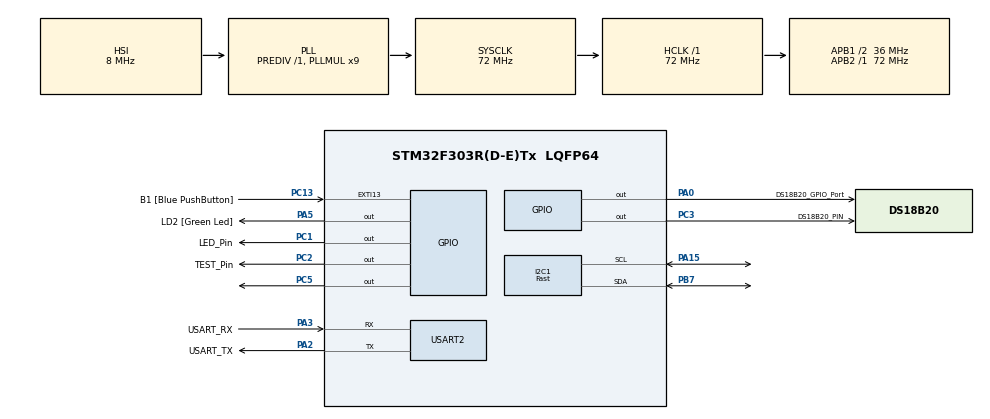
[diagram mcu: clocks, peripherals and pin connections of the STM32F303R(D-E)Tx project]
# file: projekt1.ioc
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Dma.I2C1_TX.0.Direction=DMA_MEMORY_TO_PERIPH
Dma.I2C1_TX.0.Instance=DMA1_Channel6
Dma.I2C1_TX.0.MemDataAlignment=DMA_MDATAALIGN_BYTE
Dma.I2C1_TX.0.MemInc=DMA_MINC_ENABLE
Dma.I2C1_TX.0.Mode=DMA_NORMAL
Dma.I2C1_TX.0.PeriphDataAlignment=DMA_PDATAALIGN_BYTE
Dma.I2C1_TX.0.PeriphInc=DMA_PINC_DISABLE
Dma.I2C1_TX.0.Priority=DMA_PRIORITY_LOW
Dma.Request0=I2C1_TX
I2C1.I2C_Speed_Mode=I2C_Fast
I2C1.Timing=0x0000020B
Mcu.Family=STM32F3
Mcu.Name=STM32F303R(D-E)Tx
Mcu.Package=LQFP64
NVIC.DMA1_Channel6_IRQn=true\:0\:0\:false\:false\:true\:false\:true\:true
NVIC.I2C1_EV_IRQn=true\:0\:0\:false\:false\:true\:true\:true\:true
NVIC.PriorityGroup=NVIC_PRIORITYGROUP_0
NVIC.USART2_IRQn=true\:0\:0\:false\:false\:true\:true\:true\:true
PA0.GPIO_Label=DS18B20_GPIO_Port
PA0.Signal=GPIO_Output
PA13.GPIO_Label=TMS
PA13.Mode=Serial_Wire
PA13.Signal=SYS_JTMS-SWDIO
PA14.GPIO_Label=TCK
PA14.Mode=Serial_Wire
PA14.Signal=SYS_JTCK-SWCLK
PA15.Mode=I2C
PA15.Signal=I2C1_SCL
PA2.GPIO_Label=USART_TX
PA2.GPIO_Mode=GPIO_MODE_AF_PP
PA2.GPIO_PuPd=GPIO_NOPULL
PA2.GPIO_Speed=GPIO_SPEED_FREQ_LOW
PA2.Mode=Asynchronous
PA2.Signal=USART2_TX
PA3.GPIO_Label=USART_RX
PA3.GPIO_Mode=GPIO_MODE_AF_PP
PA3.GPIO_PuPd=GPIO_NOPULL
PA3.GPIO_Speed=GPIO_SPEED_FREQ_LOW
PA3.Mode=Asynchronous
PA3.Signal=USART2_RX
PA5.GPIO_Label=LD2 [Green Led]
PA5.GPIO_Mode=GPIO_MODE_OUTPUT_PP
PA5.GPIO_PuPd=GPIO_NOPULL
PA5.GPIO_Speed=GPIO_SPEED_FREQ_LOW
PA5.Signal=GPIO_Output
PB3.GPIO_Label=SWO
PB3.Signal=SYS_JTDO-TRACESWO
PB7.Mode=I2C
PB7.Signal=I2C1_SDA
PC1.GPIO_Label=LED_Pin
PC1.Signal=GPIO_Output
PC13.GPIO_Label=B1 [Blue PushButton]
PC13.GPIO_ModeDefaultEXTI=GPIO_MODE_IT_FALLING
PC13.Signal=GPXTI13
PC14-OSC32_IN.Mode=LSE-External-Oscillator
PC14-OSC32_IN.Signal=RCC_OSC32_IN
PC15-OSC32_OUT.Mode=LSE-External-Oscillator
PC15-OSC32_OUT.Signal=RCC_OSC32_OUT
PC2.GPIO_Label=TEST_Pin
PC2.Signal=GPIO_Output
PC3.GPIO_Label=DS18B20_PIN
PC3.Signal=GPIO_Output
PC5.Signal=GPIO_Output
PF0-OSC_IN.Mode=HSE-External-Clock-Source
PF0-OSC_IN.Signal=RCC_OSC_IN
PF1-OSC_OUT.Signal=RCC_OSC_OUT
ProjectManager.HeapSize=0x200
ProjectManager.StackSize=0x400
ProjectManager.TargetToolchain=STM32CubeIDE
RCC.AHBFreq_Value=72000000
RCC.APB1CLKDivider=RCC_HCLK_DIV2
RCC.APB1Freq_Value=36000000
RCC.APB1TimFreq_Value=72000000
RCC.APB2Freq_Value=72000000
RCC.APB2TimFreq_Value=72000000
RCC.CortexFreq_Value=72000000
RCC.HCLKFreq_Value=72000000
RCC.HSE_VALUE=8000000
RCC.HSI_VALUE=8000000
RCC.PLLM=8
RCC.PLLMUL=RCC_PLL_MUL9
RCC.PLLN=336
RCC.PLLP=RCC_PLLP_DIV4
RCC.PLLQ=7
RCC.RCC_PLLsource_Clock_Source_FROM_HSE=RCC_HSE_PREDIV_DIV2
RCC.SYSCLKFreq_VALUE=72000000
RCC.SYSCLKSourceVirtual=RCC_SYSCLKSOURCE_PLLCLK
RCC.USBFreq_Value=72000000
TIM1.Prescaler=72-1
USART2.VirtualMode-Asynchronous=VM_ASYNC
VP_RTC_VS_RTC_Activate.Mode=RTC_Enabled
VP_RTC_VS_RTC_Calendar.Mode=RTC_Calendar
VP_TIM1_VS_ClockSourceINT.Mode=Internal
board=NUCLEO-F303RE

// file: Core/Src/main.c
/* USER CODE BEGIN Header */
/**
  ******************************************************************************
  * @file           : main.c
  * @brief          : Main program body
  ******************************************************************************
  * @attention
  *
  * Copyright (c) 2022 STMicroelectronics.
  * All rights reserved.
  *
  * This software is licensed under terms that can be found in the LICENSE file
  * in the root directory of this software component.
  * If no LICENSE file comes with this software, it is provided AS-IS.
  *
  ******************************************************************************
  */
/* USER CODE END Header */
#include "main.h"
#include "dma.h"
#include "i2c.h"
#include "rtc.h"
#include "tim.h"
#include "usart.h"
#include "gpio.h"

/* USER CODE BEGIN Includes */
#include <string.h>
#include <stdio.h>
#include <time.h>
#include <stdarg.h>
#include "onewire.h"
#include "ds18b20.h"
#include "ssd1306.h"
#include "fonts.h"
#include "test.h"
/* USER CODE END Includes */

/* USER CODE BEGIN PV */

//zmienne do obsługi protokołu
#define USART_TXBUF_LEN 300
#define USART_RXBUF_LEN 300
uint8_t USART_TxBUF[USART_TXBUF_LEN];
uint8_t USART_RxBUF[USART_RXBUF_LEN];

__IO int USART_TX_EMPTY=0; //wskaźnik dla bufora nadawczego
__IO int USART_TX_BUSY=0;
__IO int USART_RX_EMPTY=0; //wskaźnik dla bufora odbiorczego
__IO int USART_RX_BUSY=0;

//zmienne do ramki
const char nazwa_stm[3]="stm";
char nadawca[3];
char odbiorca[3];
char dlugoscKomendy2[3];
char sumaKontrolna2[2];
int sumaKontrolna;
int dlugoscKomendy;
int ramkaDlugosc=0;
int poczatekRamki=0;

int dlugosc;

float temperature;
char string[64];

uint8_t aShowTime[50] = {0};
uint8_t aShowDate[50] = {0};

/* USER CODE END PV */

void SystemClock_Config(void);

/* USER CODE BEGIN 0 */
uint8_t USART_kbhit(){
	if(USART_RX_EMPTY==USART_RX_BUSY){
		return 0;
	}else{
		return 1;
	}
}//USART_kbhit

int16_t USART_getchar(){
int16_t tmp;
	if(USART_RX_EMPTY!=USART_RX_BUSY){
		tmp=USART_RxBUF[USART_RX_BUSY];
		USART_RX_BUSY++;
		if(USART_RX_BUSY >= USART_RXBUF_LEN)USART_RX_BUSY=0;
		return tmp;
	}else return 0;
}//USART_getchar

uint8_t USART_getline(char *buf){
static uint8_t bf[300]; //bufor pomocniczy
int i;
int ret=0;
	while(USART_kbhit())
	{
		bf[ramkaDlugosc]=USART_getchar();
		USART_fsend("%c", bf[ramkaDlugosc]);
		if(bf[ramkaDlugosc]==58)
		{
			ramkaDlugosc=0;
			poczatekRamki=1;
		}
		if(bf[ramkaDlugosc]==59 && poczatekRamki==1)
		{
			if(ramkaDlugosc>=12)
			{
				for(int i = 0; i <= ramkaDlugosc; i++)
				{
					buf[i] = bf[i];
				}
				ret = ramkaDlugosc;
				ramkaDlugosc=0;
				poczatekRamki=0;
				dlugosc=ret;
				return ret;
			}
			ramkaDlugosc=0;
			poczatekRamki=0;
		}
		else
		{
			ramkaDlugosc++;
			if(ramkaDlugosc>=269)
			{
				ramkaDlugosc=0;
				poczatekRamki=0;
			}
		}
	}
	return 0;
}//USART_getline

void USART_fsend(char* format,...){
char tmp_rs[128];
int i;
__IO int idx;
va_list arglist;
	va_start(arglist,format);
	vsprintf(tmp_rs,format,arglist);
	va_end(arglist);
	idx=USART_TX_EMPTY;
	for(i=0;i<strlen(tmp_rs);i++)
	{
		USART_TxBUF[idx]=tmp_rs[i];
		idx++;
		if(idx>=USART_TXBUF_LEN)idx=0;
	}
	__disable_irq(); //wyłączenie przerwań
	if((USART_TX_EMPTY==USART_TX_BUSY)&&(__HAL_UART_GET_FLAG(&huart2,UART_FLAG_TXE)==SET))
	{
		USART_TX_EMPTY=idx;
		uint8_t tmp=USART_TxBUF[USART_TX_BUSY];
		USART_TX_BUSY++;
		if(USART_TX_BUSY>=USART_TXBUF_LEN)USART_TX_BUSY=0;
		HAL_UART_Transmit_IT(&huart2,&tmp,1);
	}else{
		USART_TX_EMPTY=idx;
	}
	__enable_irq(); //włączenie przerwań
}
//nadawanie
void HAL_UART_TxCpltCallback(UART_HandleTypeDef *huart){
	if(huart==&huart2){
		if(USART_TX_EMPTY!=USART_TX_BUSY){
			uint8_t tmp=USART_TxBUF[USART_TX_BUSY];
			USART_TX_BUSY++;
			if(USART_TX_BUSY>=USART_TXBUF_LEN)USART_TX_BUSY=0;
			HAL_UART_Transmit_IT(&huart2,&tmp,1);
		}
	}
}
//odbiór
void HAL_UART_RxCpltCallback(UART_HandleTypeDef *huart){
	if(huart==&huart2)
	{
		USART_RX_EMPTY++;
		if(USART_RX_EMPTY>=USART_RXBUF_LEN)
			{
			USART_RX_EMPTY=0;
			}
		HAL_UART_Receive_IT(&huart2,&USART_RxBUF[USART_RX_EMPTY],1);
	}
}

void delay_us (uint16_t us)
{
	__HAL_TIM_SET_COUNTER(&htim1,0);  // set the counter value a 0
	while (__HAL_TIM_GET_COUNTER(&htim1) < us);  // wait for the counter to reach the us input in the parameter
}

uint8_t DS18B20_Start (void)
{
	uint8_t Response = 0;
	Set_Pin_Output(DS18B20_PORT, DS18B20_PIN);   // set the pin as output
	HAL_GPIO_WritePin (DS18B20_PORT, DS18B20_PIN, 0);  // pull the pin low
	delay (480);   // delay according to datasheet

	Set_Pin_Input(DS18B20_PORT, DS18B20_PIN);    // set the pin as input
	delay (80);    // delay according to datasheet

	if (!(HAL_GPIO_ReadPin (DS18B20_PORT, DS18B20_PIN))) Response = 1;    // if the pin is low i.e the presence pulse is detected
	else Response = -1;

	delay (400); // 480 us delay totally.

	return Response;
}
void DS18B20_Write (uint8_t data)
{
	Set_Pin_Output(DS18B20_PORT, DS18B20_PIN);  // set as output

	for (int i=0; i<8; i++)
	{

		if ((data & (1<<i))!=0)  // if the bit is high
		{
			// write 1

			Set_Pin_Output(DS18B20_PORT, DS18B20_PIN);  // set as output
			HAL_GPIO_WritePin (DS18B20_PORT, DS18B20_PIN, 0);  // pull the pin LOW
			delay (1);  // wait for 1 us

			Set_Pin_Input(DS18B20_PORT, DS18B20_PIN);  // set as input
			delay (50);  // wait for 60 us
		}

		else  // if the bit is low
		{
			// write 0

			Set_Pin_Output(DS18B20_PORT, DS18B20_PIN);
			HAL_GPIO_WritePin (DS18B20_PORT, DS18B20_PIN, 0);  // pull the pin LOW
			delay (50);  // wait for 60 us

			Set_Pin_Input(DS18B20_PORT, DS18B20_PIN);
		}
	}
}

uint8_t read (void)
{
	uint8_t value=0;
	gpio_set_input ();

	for (int i=0;i<8;i++)
	{
		gpio_set_output ();   // set as output

		HAL_GPIO_WritePin (GPIOA, GPIO_PIN_1, 0);  // pull the data pin LOW
		delay (2);  // wait for 2 us

		gpio_set_input ();  // set as input
		if (HAL_GPIO_ReadPin (GPIOA, GPIO_PIN_1))  // if the pin is HIGH
		{
			value |= 1<<i;  // read = 1
		}
		delay (60);  // wait for 60 us
	}
	return value;
}

void UruchomOled()
{

}

void ZatrzymajOled()
{
	SSD1306_Clear();
	SSD1306_UpdateScreen();
}

void SprawdzKomende(char *cmd)
{
	int suma=0;
	for(int i = 0; i < dlugoscKomendy; i++)
	{
		suma=suma+cmd[i];
	}

	suma=suma % 100;
	//USART_fsend("\n%d", suma);

	if(sumaKontrolna==suma)
	{
		if(cmd[0] == 'S' && cmd[1] == 'T' && cmd[2] == 'A' && cmd[3] == 'R' && cmd[4] == 'T' && dlugoscKomendy == 5)
		{
			UruchomOled();
		}
		else if(cmd[0] == 'S' && cmd[1] == 'T' && cmd[2] == 'O' &&cmd[3] == 'P' && dlugoscKomendy == 4)
		{
			ZatrzymajOled();
		}
		else
		{
			USART_fsend("\nBADCMD\r\n");
		}
	}
	else
	{
		USART_fsend("\BADSUM\r\n");
	}
}

void ReadFrame(char *buf)
{
	memcpy(nadawca, &buf[1], 3);
	memcpy(odbiorca, &buf[4], 3);
	memcpy(dlugoscKomendy2, &buf[7], 3);
	for(int i = 0; i<3; i++)
	{
		if(!isdigit(dlugoscKomendy2[i]))
		{
			USART_fsend("\nBADFRAME \r \n");
			return;
		}
	}
	dlugoscKomendy=atoi(dlugoscKomendy2);
	memcpy(sumaKontrolna2, &buf[dlugosc-2], 2);

	for(int i=0; i<2; i++)
	{
		if(!isdigit(sumaKontrolna2[i]))
		{
			USART_fsend("\nBADFRAME\r\n");
			return;
		}
	}
	sumaKontrolna = atoi(sumaKontrolna2);

	SprawdzRamke(buf);

}

void SprawdzRamke(char *buf)
{
	if(strncmp(nazwa_stm, odbiorca, 3) == 0)
	{
		if(dlugoscKomendy <= 256 && dlugoscKomendy > 0)
		{

			int poprawnaRamka = dlugoscKomendy+12;

			if(dlugosc < poprawnaRamka)
			{
				USART_fsend("\nBADCMD\r\n");
				return;
			}
			char command[dlugoscKomendy + 1];
			memcpy(command, &buf[10], dlugoscKomendy);
			SprawdzKomende(command);

		}
		else if(dlugoscKomendy == 0)
		{
			USART_fsend("\nBADCCOMM\r\n");
			return;
		}
		else
		{
			USART_fsend("\nLENCOMM\r\n");
			return;
		}
	}
	else
	{
		USART_fsend("\nBADFRAME\r\n");
	}
}
/* USER CODE END 0 */

int main(void)
{

  /* MCU Configuration--------------------------------------------------------*/

  /* Reset of all peripherals, Initializes the Flash interface and the Systick. */
  HAL_Init();

  /* Configure the system clock */
  SystemClock_Config();

  /* Initialize all configured peripherals */
  MX_GPIO_Init();
  MX_DMA_Init();
  MX_USART2_UART_Init();
  MX_I2C1_Init();
  MX_RTC_Init();
  MX_TIM1_Init();

  /* Infinite loop */
  /* USER CODE BEGIN WHILE */
  HAL_UART_Receive_IT(&huart2,&USART_RxBUF[0],1);

      USART_fsend("=============\r\n",72);
      USART_fsend("START1 0x%04X\r\n",72);
      USART_fsend("=============\r\n",72);
      //uint32_t xxx=0;
  int len=0;
  char bx[300];
  while (1)
  {
	  HAL_TIM_Base_Start(&htim1);
	  HAL_GPIO_TogglePin(GPIOA, GPIO_PIN_1);
	  delay_us(10);

	  Presence = DS18B20_Start ();
	  HAL_Delay (1);
	  DS18B20_Write (0xCC);  // skip ROM
	  DS18B20_Write (0x44);  // convert t
	  HAL_Delay (800);

	  Presence = DS18B20_Start ();
	  HAL_Delay(1);
	  DS18B20_Write (0xCC);  // skip ROM
	  DS18B20_Write (0xBE);  // Read Scratch-pad

	  Temp_byte1 = DS18B20_Read();
	  Temp_byte2 = DS18B20_Read();

    /* USER CODE END WHILE */

    /* USER CODE BEGIN 3 */
    	  if((len=USART_getline(bx))>0){
    	    		  ReadFrame(bx);
    	    	  }
    	      }
  /* USER CODE END 3 */
}

void SystemClock_Config(void)
{
  RCC_OscInitTypeDef RCC_OscInitStruct = {0};
  RCC_ClkInitTypeDef RCC_ClkInitStruct = {0};
  RCC_PeriphCLKInitTypeDef PeriphClkInit = {0};

  /** Initializes the RCC Oscillators according to the specified parameters
  * in the RCC_OscInitTypeDef structure.
  */
  RCC_OscInitStruct.OscillatorType = RCC_OSCILLATORTYPE_HSI|RCC_OSCILLATORTYPE_LSI;
  RCC_OscInitStruct.HSIState = RCC_HSI_ON;
  RCC_OscInitStruct.HSICalibrationValue = RCC_HSICALIBRATION_DEFAULT;
  RCC_OscInitStruct.LSIState = RCC_LSI_ON;
  RCC_OscInitStruct.PLL.PLLState = RCC_PLL_ON;
  RCC_OscInitStruct.PLL.PLLSource = RCC_PLLSOURCE_HSI;
  RCC_OscInitStruct.PLL.PLLMUL = RCC_PLL_MUL9;
  RCC_OscInitStruct.PLL.PREDIV = RCC_PREDIV_DIV1;
  if (HAL_RCC_OscConfig(&RCC_OscInitStruct) != HAL_OK)
  {
    Error_Handler();
  }

  /** Initializes the CPU, AHB and APB buses clocks
  */
  RCC_ClkInitStruct.ClockType = RCC_CLOCKTYPE_HCLK|RCC_CLOCKTYPE_SYSCLK
                              |RCC_CLOCKTYPE_PCLK1|RCC_CLOCKTYPE_PCLK2;
  RCC_ClkInitStruct.SYSCLKSource = RCC_SYSCLKSOURCE_PLLCLK;
  RCC_ClkInitStruct.AHBCLKDivider = RCC_SYSCLK_DIV1;
  RCC_ClkInitStruct.APB1CLKDivider = RCC_HCLK_DIV2;
  RCC_ClkInitStruct.APB2CLKDivider = RCC_HCLK_DIV1;

  if (HAL_RCC_ClockConfig(&RCC_ClkInitStruct, FLASH_LATENCY_2) != HAL_OK)
  {
    Error_Handler();
  }
  PeriphClkInit.PeriphClockSelection = RCC_PERIPHCLK_USART2|RCC_PERIPHCLK_I2C1
                              |RCC_PERIPHCLK_RTC|RCC_PERIPHCLK_TIM1;
  PeriphClkInit.Usart2ClockSelection = RCC_USART2CLKSOURCE_PCLK1;
  PeriphClkInit.I2c1ClockSelection = RCC_I2C1CLKSOURCE_HSI;
  PeriphClkInit.RTCClockSelection = RCC_RTCCLKSOURCE_LSI;
  PeriphClkInit.Tim1ClockSelection = RCC_TIM1CLK_HCLK;
  if (HAL_RCCEx_PeriphCLKConfig(&PeriphClkInit) != HAL_OK)
  {
    Error_Handler();
  }
}

void Error_Handler(void)
{
  __disable_irq();
  while (1)
  {
  }
}
